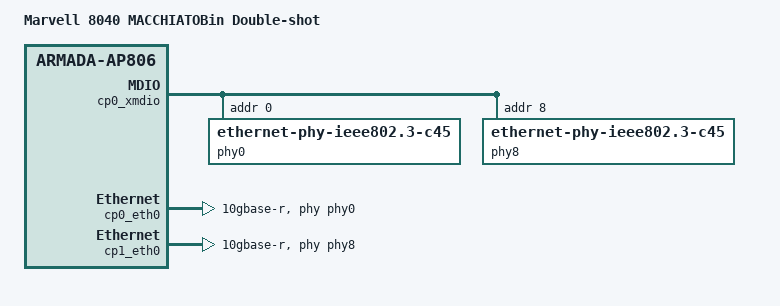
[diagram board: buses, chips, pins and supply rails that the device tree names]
// SPDX-License-Identifier: (GPL-2.0+ OR MIT)
/*
 * Copyright (C) 2016 Marvell Technology Group Ltd.
 *
 * Device Tree file for MACCHIATOBin Armada 8040 community board platform
 */

#include <dt-bindings/leds/common.h>
#include "armada-8040-mcbin.dtsi"

/ {
	model = "Marvell 8040 MACCHIATOBin Double-shot";
	compatible = "marvell,armada8040-mcbin-doubleshot",
			"marvell,armada8040-mcbin", "marvell,armada8040",
			"marvell,armada-ap806-quad", "marvell,armada-ap806";
};

&cp0_xmdio {
	status = "okay";

	phy0: ethernet-phy@0 {
		compatible = "ethernet-phy-ieee802.3-c45";
		reg = <0>;
		sfp = <&sfp_eth0>;

		leds {
			#address-cells = <1>;
			#size-cells = <0>;

			led@0 {
				reg = <0>;
				color = <LED_COLOR_ID_GREEN>;
				function = "link-copper", "activity";
			};

			phy0_led1: led@1 {
				reg = <1>;
				color = <LED_COLOR_ID_GREEN>;
				function = "link-10g", "link-100m";
				excludes = <&phy0_led2>;
			};

			phy0_led2: led@2 {
				reg = <1>;
				color = <LED_COLOR_ID_YELLOW>;
				function = "link-1g", "link-10m";
				excludes = <&phy0_led1>;
			};
		};
	};

	phy8: ethernet-phy@8 {
		compatible = "ethernet-phy-ieee802.3-c45";
		reg = <8>;
		sfp = <&sfp_eth1>;

		leds {
			#address-cells = <1>;
			#size-cells = <0>;

			led@0 {
				reg = <0>;
				color = <LED_COLOR_ID_GREEN>;
				function = "link-copper", "activity";
			};

			phy1_led1: led@1 {
				reg = <1>;
				color = <LED_COLOR_ID_GREEN>;
				function = "link-10g", "link-100m";
				excludes = <&phy1_led2>;
			};

			phy1_led2: led@2 {
				reg = <1>;
				color = <LED_COLOR_ID_YELLOW>;
				function = "link-1g", "link-10m";
				excludes = <&phy1_led1>;
			};
		};
	};
};

&cp0_eth0 {
	status = "okay";
	/* Network PHY */
	phy = <&phy0>;
	phy-mode = "10gbase-r";
};

&cp1_eth0 {
	status = "okay";
	/* Network PHY */
	phy = <&phy8>;
	phy-mode = "10gbase-r";
};
